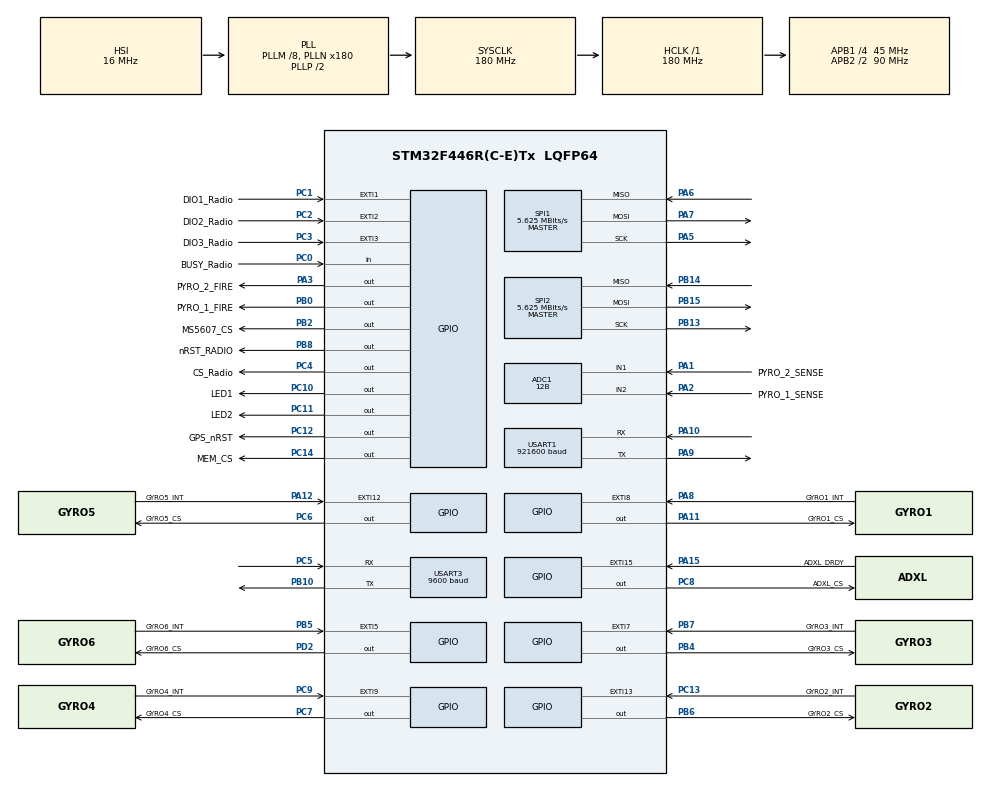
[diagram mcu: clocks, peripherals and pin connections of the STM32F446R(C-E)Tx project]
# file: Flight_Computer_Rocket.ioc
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ADC1.Channel-0\#ChannelRegularConversion=ADC_CHANNEL_2
ADC1.ClockPrescaler=ADC_CLOCK_SYNC_PCLK_DIV4
ADC1.ContinuousConvMode=DISABLE
ADC1.DMAContinuousRequests=DISABLE
ADC1.DataAlign=ADC_DATAALIGN_RIGHT
ADC1.DiscontinuousConvMode=DISABLE
ADC1.EOCSelection=ADC_EOC_SINGLE_CONV
ADC1.EnableAnalogWatchDog=false
ADC1.ExternalTrigConv=ADC_SOFTWARE_START
ADC1.ExternalTrigConvEdge=ADC_EXTERNALTRIGCONVEDGE_NONE
ADC1.InjNumberOfConversion=0
ADC1.NbrOfConversion=1
ADC1.NbrOfConversionFlag=1
ADC1.Rank-0\#ChannelRegularConversion=1
ADC1.Resolution=ADC_RESOLUTION_12B
ADC1.SamplingTime-0\#ChannelRegularConversion=ADC_SAMPLETIME_3CYCLES
ADC1.ScanConvMode=DISABLE
ADC1.master=1
Mcu.Family=STM32F4
Mcu.Name=STM32F446R(C-E)Tx
Mcu.Package=LQFP64
NVIC.EXTI15_10_IRQn=true\:1\:0\:true\:false\:true\:true
NVIC.EXTI1_IRQn=true\:1\:0\:true\:false\:true\:true
NVIC.EXTI2_IRQn=true\:1\:0\:true\:false\:true\:true
NVIC.EXTI3_IRQn=true\:1\:0\:true\:false\:true\:true
NVIC.EXTI9_5_IRQn=true\:1\:0\:true\:false\:true\:true
NVIC.PriorityGroup=NVIC_PRIORITYGROUP_4
NVIC.TIM1_UP_TIM10_IRQn=true\:1\:0\:true\:false\:true\:true
NVIC.TIM6_DAC_IRQn=true\:1\:0\:true\:false\:true\:true
NVIC.TIM7_IRQn=true\:1\:0\:true\:false\:true\:true
NVIC.USART1_IRQn=true\:0\:0\:false\:false\:true\:true
NVIC.USART3_IRQn=true\:0\:0\:false\:false\:true\:true
PA1.GPIO_Label=PYRO_2_SENSE
PA1.Signal=ADCx_IN1
PA10.Mode=Asynchronous
PA10.Signal=USART1_RX
PA11.GPIO_Label=GYRO1_CS
PA11.GPIO_Speed=GPIO_SPEED_FREQ_HIGH
PA11.Signal=GPIO_Output
PA12.GPIO_Label=GYRO5_INT
PA12.Signal=GPXTI12
PA13.Mode=Trace_Asynchronous_SW
PA13.Signal=SYS_JTMS-SWDIO
PA14.Mode=Trace_Asynchronous_SW
PA14.Signal=SYS_JTCK-SWCLK
PA15.GPIO_Label=ADXL_DRDY
PA15.Signal=GPXTI15
PA2.GPIO_Label=PYRO_1_SENSE
PA2.Signal=ADCx_IN2
PA3.GPIO_Label=PYRO_2_FIRE
PA3.Signal=GPIO_Output
PA5.Mode=Full_Duplex_Master
PA5.Signal=SPI1_SCK
PA6.Mode=Full_Duplex_Master
PA6.Signal=SPI1_MISO
PA7.Mode=Full_Duplex_Master
PA7.Signal=SPI1_MOSI
PA8.GPIO_Label=GYRO1_INT
PA8.Signal=GPXTI8
PA9.Mode=Asynchronous
PA9.Signal=USART1_TX
PB0.GPIO_Label=PYRO_1_FIRE
PB0.Signal=GPIO_Output
PB10.Mode=Asynchronous
PB10.Signal=USART3_TX
PB13.Mode=Full_Duplex_Master
PB13.Signal=SPI2_SCK
PB14.Mode=Full_Duplex_Master
PB14.Signal=SPI2_MISO
PB15.Mode=Full_Duplex_Master
PB15.Signal=SPI2_MOSI
PB2.GPIO_Label=MS5607_CS
PB2.GPIO_Speed=GPIO_SPEED_FREQ_HIGH
PB2.Signal=GPIO_Output
PB3.Mode=Trace_Asynchronous_SW
PB3.Signal=SYS_JTDO-SWO
PB4.GPIO_Label=GYRO3_CS
PB4.GPIO_Speed=GPIO_SPEED_FREQ_HIGH
PB4.Signal=GPIO_Output
PB5.GPIO_Label=GYRO6_INT
PB5.Signal=GPXTI5
PB6.GPIO_Label=GYRO2_CS
PB6.GPIO_Speed=GPIO_SPEED_FREQ_HIGH
PB6.Signal=GPIO_Output
PB7.GPIO_Label=GYRO3_INT
PB7.Signal=GPXTI7
PB8.GPIO_Label=nRST_RADIO
PB8.Signal=GPIO_Output
PC0.GPIO_Label=BUSY_Radio
PC0.Signal=GPIO_Input
PC1.GPIO_Label=DIO1_Radio
PC1.Signal=GPXTI1
PC10.GPIO_Label=LED1
PC10.Signal=GPIO_Output
PC11.GPIO_Label=LED2
PC11.Signal=GPIO_Output
PC12.GPIO_Label=GPS_nRST
PC12.Signal=GPIO_Output
PC13.GPIO_Label=GYRO2_INT
PC13.Signal=GPXTI13
PC14-OSC32_IN.GPIO_Label=MEM_CS
PC14-OSC32_IN.GPIO_Speed=GPIO_SPEED_FREQ_LOW
PC14-OSC32_IN.Signal=GPIO_Output
PC2.GPIO_Label=DIO2_Radio
PC2.Signal=GPXTI2
PC3.GPIO_Label=DIO3_Radio
PC3.Signal=GPXTI3
PC4.GPIO_Label=CS_Radio
PC4.Signal=GPIO_Output
PC5.Mode=Asynchronous
PC5.Signal=USART3_RX
PC6.GPIO_Label=GYRO5_CS
PC6.GPIO_Speed=GPIO_SPEED_FREQ_HIGH
PC6.Signal=GPIO_Output
PC7.GPIO_Label=GYRO4_CS
PC7.GPIO_Speed=GPIO_SPEED_FREQ_HIGH
PC7.Signal=GPIO_Output
PC8.GPIO_Label=ADXL_CS
PC8.GPIO_Speed=GPIO_SPEED_FREQ_HIGH
PC8.Signal=GPIO_Output
PC9.GPIO_Label=GYRO4_INT
PC9.Signal=GPXTI9
PD2.GPIO_Label=GYRO6_CS
PD2.GPIO_Speed=GPIO_SPEED_FREQ_HIGH
PD2.Signal=GPIO_Output
ProjectManager.HeapSize=0x200
ProjectManager.StackSize=0x400
ProjectManager.TargetToolchain=TrueSTUDIO
RCC.AHBFreq_Value=180000000
RCC.APB1CLKDivider=RCC_HCLK_DIV4
RCC.APB1Freq_Value=45000000
RCC.APB1TimFreq_Value=90000000
RCC.APB2CLKDivider=RCC_HCLK_DIV2
RCC.APB2Freq_Value=90000000
RCC.APB2TimFreq_Value=180000000
RCC.CortexFreq_Value=180000000
RCC.HCLKFreq_Value=180000000
RCC.PLLM=8
RCC.PLLN=180
RCC.SYSCLKFreq_VALUE=180000000
RCC.SYSCLKSource=RCC_SYSCLKSOURCE_PLLCLK
RCC.USBFreq_Value=180000000
RCC.VCOOutputFreq_Value=360000000
SH.ADCx_IN1.0=ADC1_IN1,IN1
SH.ADCx_IN2.0=ADC1_IN2,IN2
SPI1.BaudRatePrescaler=SPI_BAUDRATEPRESCALER_16
SPI1.CalculateBaudRate=5.625 MBits/s
SPI1.Direction=SPI_DIRECTION_2LINES
SPI1.Mode=SPI_MODE_MASTER
SPI1.VirtualType=VM_MASTER
SPI2.BaudRatePrescaler=SPI_BAUDRATEPRESCALER_8
SPI2.CalculateBaudRate=5.625 MBits/s
SPI2.Direction=SPI_DIRECTION_2LINES
SPI2.Mode=SPI_MODE_MASTER
SPI2.VirtualType=VM_MASTER
TIM10.Period=999
TIM10.Prescaler=1799
TIM6.Period=99
TIM6.Prescaler=17999
TIM7.Period=499
TIM7.Prescaler=1799
USART1.BaudRate=921600
USART1.VirtualMode=VM_ASYNC
USART3.BaudRate=9600
USART3.VirtualMode=VM_ASYNC
VP_TIM10_VS_ClockSourceINT.Mode=Enable_Timer
VP_TIM6_VS_ClockSourceINT.Mode=Enable_Timer
VP_TIM7_VS_ClockSourceINT.Mode=Enable_Timer
board=Flight_Computer_Rocket

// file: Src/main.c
/**
  ******************************************************************************
  * File Name          : main.c
  * Description        : Main program body
  ******************************************************************************
  ** This notice applies to any and all portions of this file
  * that are not between comment pairs USER CODE BEGIN and
  * USER CODE END. Other portions of this file, whether
  * inserted by the user or by software development tools
  * are owned by their respective copyright owners.
  *
  * COPYRIGHT(c) 2018 STMicroelectronics
  *
  * Redistribution and use in source and binary forms, with or without modification,
  * are permitted provided that the following conditions are met:
  *   1. Redistributions of source code must retain the above copyright notice,
  *      this list of conditions and the following disclaimer.
  *   2. Redistributions in binary form must reproduce the above copyright notice,
  *      this list of conditions and the following disclaimer in the documentation
  *      and/or other materials provided with the distribution.
  *   3. Neither the name of STMicroelectronics nor the names of its contributors
  *      may be used to endorse or promote products derived from this software
  *      without specific prior written permission.
  *
  * THIS SOFTWARE IS PROVIDED BY THE COPYRIGHT HOLDERS AND CONTRIBUTORS "AS IS"
  * AND ANY EXPRESS OR IMPLIED WARRANTIES, INCLUDING, BUT NOT LIMITED TO, THE
  * IMPLIED WARRANTIES OF MERCHANTABILITY AND FITNESS FOR A PARTICULAR PURPOSE ARE
  * DISCLAIMED. IN NO EVENT SHALL THE COPYRIGHT HOLDER OR CONTRIBUTORS BE LIABLE
  * FOR ANY DIRECT, INDIRECT, INCIDENTAL, SPECIAL, EXEMPLARY, OR CONSEQUENTIAL
  * DAMAGES (INCLUDING, BUT NOT LIMITED TO, PROCUREMENT OF SUBSTITUTE GOODS OR
  * SERVICES; LOSS OF USE, DATA, OR PROFITS; OR BUSINESS INTERRUPTION) HOWEVER
  * CAUSED AND ON ANY THEORY OF LIABILITY, WHETHER IN CONTRACT, STRICT LIABILITY,
  * OR TORT (INCLUDING NEGLIGENCE OR OTHERWISE) ARISING IN ANY WAY OUT OF THE USE
  * OF THIS SOFTWARE, EVEN IF ADVISED OF THE POSSIBILITY OF SUCH DAMAGE.
  *
  ******************************************************************************
  */

#include "main.h"
#include "stm32f4xx_hal.h"

/* USER CODE BEGIN Includes */

/*
                                                                   `-/+osyhdmmNNy`
                                                             `-/shmNmhyso+/oMMMy`
                                                         `-+hmNdy+:.`     /mMNo`
                                                     `.:smNds/.`        .yNMm:
                                             `.:+oosmmNmy+.`          .sNMNo`
                                        `-/syhs+:./hmy/`    `::     .odmms.
       ./oyyyo:`       ./oyyy+-      ./ymNyo+oo+/:+/.    ./o//+++//+oso+o++:       .:/++/:.
      :mNNNNNNNh-     /mNNNNNNmy. -odNMMN++dmmdhddd/ `:odNs/hydddmNmdddmmmmo      /ddmmmmdh/
      hNNNmsmNNNm-    hNNNmsmNNms.dNMMMM/-mNdyydmmdd-sNMMh-Ndmmmysossssssss/     -dmmmdhmmmd-
      hNNNh :NNNNh`   hNNNy /NNmm/-+oo++.dNNdd-:dmNNd-NMMo+mddd:                `ymmmd:-dmmmh`
      hNNNh  oNNNN/   hNNNy .omNNm.ddhy-+mNNNo.:sMNNNo+MN/-dmmmho+++++++/-`     +mmmmo  ommmmo
      hNNNh  `dNNNd`  hNNNy-d-dNNm/.-...dhNNh` y.mNNNN-o.  +dmmmmmmmmmmmmmh:   -dmmmh`  `hmmmd-
      hNNNh   :NNNN/  hNmmy:Ms/mdhh.:.`omdmh- .Ny:NNNdy     .+syyyyyyyydmmmd- `ymmmm:    -dmmmy`
      hNNNh    hNNNd` hmNNy:Nh.syss/``+ddmho-:mMM:odmmm/               :mmmmo /mmmmo      ommmm/
      hNNNh    -NNNNy:dmNNy:mms:yoos-.hmmdd-mMNd+.`dmmmd`  .////////::/smmmm/.dmmmh`      `hmmmd.
      hNNNh     +mNNNNNmNm+/yso.odmmyyNddN:sdo-    :mmmms  +mmmmmmmdymmmmmmo`smmmm:        -dmmms
      sddds      -ohdddhs+sdNNMy:dsyhhyydo`-        ohhhh. /hhhhhhysshhhyo- .yhhho          +yyyy.
                    ``` :NMMMMMMh:   .:`                      `.+s.
                         /mMMMMMMs                         `./hmy-
                          .omMMMMMs.`                  `./sdNNy:
                          .-./smNMMMmho+:-..``...-:/oshmMMNmo.
                           :yhysoyNMMMMMMMMMMMMMMMMMMMMNdo-
                             .+ymMMMMMMMMMMMMMMMMMMmyo:`
                                 .-+osyyhhhyyso+:.`
 */

#include "flash.h"
#include "sensors.h"
#include "commandline.h"
#include "GPS.h"
#include "SX1280.h"
#include "math.h"

/* USER CODE END Includes */

ADC_HandleTypeDef hadc1;

SPI_HandleTypeDef hspi1;
SPI_HandleTypeDef hspi2;

TIM_HandleTypeDef htim6;
TIM_HandleTypeDef htim7;
TIM_HandleTypeDef htim10;

UART_HandleTypeDef huart1;
UART_HandleTypeDef huart3;

/* USER CODE BEGIN PV */
/* Private variables ---------------------------------------------------------*/

//GLOBALS:
//UART Buffers
uint8_t uart1_in;
buffer uart1_buf;
uint8_t uart3_in;
buffer uart3_buf;
uint16_t packet_number = 0;

union flt{
  float f;
  uint8_t bytes[4];
};
union flt float_conv;

//Sensors Structs
baro b;
gyro gyros[6];
accel a;
extern gps_data gps;
uint32_t last_time = 0;
volatile uint8_t LOGGING_ACTIVE = 0;
uint8_t RX_PARITY = 0;
file* logfile;

//Global Flags
volatile uint8_t ADXL_Log, GYRO1_Log, GYRO2_Log, GYRO3_Log, GYRO4_Log, GYRO5_Log, GYRO6_Log, GPS_Log;
uint8_t radio_tim, baro_tim, ms_tim;
uint8_t baro_conv_state = 0;
uint8_t transmitting = 0;
uint8_t radio_RX = 0;
uint8_t radio_pkt_rdy = 0;
uint8_t baro_lockout = 0;
uint16_t callsign_counter = 0;
/* USER CODE END PV */

void SystemClock_Config(void);
static void MX_GPIO_Init(void);
static void MX_ADC1_Init(void);
static void MX_SPI1_Init(void);
static void MX_SPI2_Init(void);
static void MX_TIM10_Init(void);
static void MX_USART1_UART_Init(void);
static void MX_USART3_UART_Init(void);
static void MX_TIM6_Init(void);
static void MX_TIM7_Init(void);

/* USER CODE BEGIN PFP */
/* Private function prototypes -----------------------------------------------*/

/* USER CODE END PFP */

int main(void)
{

  /* USER CODE BEGIN 1 */

  // Initialize uart command buffer

  /* USER CODE END 1 */

  /* MCU Configuration----------------------------------------------------------*/

  /* Reset of all peripherals, Initializes the Flash interface and the Systick. */
  HAL_Init();

  /* Configure the system clock */
  SystemClock_Config();

  /* Initialize all configured peripherals */
  MX_GPIO_Init();
  MX_ADC1_Init();
  MX_SPI1_Init();
  MX_SPI2_Init();
  MX_TIM10_Init();
  MX_USART1_UART_Init();
  MX_USART3_UART_Init();
  MX_TIM6_Init();
  MX_TIM7_Init();

  /* USER CODE BEGIN 2 */
  //Local vars
  volatile uint8_t temp_packet[23] = {0};
  volatile uint8_t radio_status;
  uint8_t radio_tim_count = 0;
  uint8_t tx_clear = 1;
  uint8_t RXData[25] = {0};
  uint8_t TXData[25] = {0};
  uint8_t status_Byte = 0;
  uint16_t max_altitude = 0;

  //Init CS pins to default state
  HAL_GPIO_WritePin(GYRO1_CS_GPIO_Port, GYRO1_CS_Pin, 1);
  HAL_GPIO_WritePin(GYRO2_CS_GPIO_Port, GYRO2_CS_Pin, 1);
  HAL_GPIO_WritePin(GYRO3_CS_GPIO_Port, GYRO3_CS_Pin, 1);
  HAL_GPIO_WritePin(GYRO4_CS_GPIO_Port, GYRO4_CS_Pin, 1);
  HAL_GPIO_WritePin(GYRO5_CS_GPIO_Port, GYRO5_CS_Pin, 1);
  HAL_GPIO_WritePin(GYRO6_CS_GPIO_Port, GYRO6_CS_Pin, 1);
  HAL_GPIO_WritePin(MS5607_CS_GPIO_Port, MS5607_CS_Pin, 1);
  HAL_GPIO_WritePin(ADXL_CS_GPIO_Port, ADXL_CS_Pin, 1);
  HAL_GPIO_WritePin(GPS_nRST_GPIO_Port, GPS_nRST_Pin, 1);
  HAL_GPIO_WritePin(MEM_CS_GPIO_Port, MEM_CS_Pin, 1);
  HAL_GPIO_WritePin(CS_Radio_GPIO_Port, CS_Radio_Pin, 1);

  unlock_all(); // Flash init

  //Cmd Interface Init
  buffer_init(&uart1_buf, UART_BUFFER_SIZE, 1);
  HAL_UART_Receive_IT(&huart1, &uart1_in, 1);

  //GPS UART Init
  buffer_init(&uart3_buf, UART_BUFFER_SIZE, 3);
  HAL_UART_Receive_IT(&huart3, &uart3_in, 1);

  //Gyro Init
  init_gyros();
  for(int n = 1; n <= 6; n++){
      gyros[n-1].id = n;
  }

  //Accel Init
  init_accel();

  //Baro Init
  init_baro(&b);
  D2_conv_baro(&b);
  HAL_Delay(20);

  //Radio Init
  init_radio();

  print("System Initilization Complete\n\0");

  //Start Timers
  HAL_TIM_Base_Init(&htim6);
  HAL_TIM_Base_Start_IT(&htim6);
  HAL_TIM_Base_Init(&htim7);
  HAL_TIM_Base_Start_IT(&htim7);
  HAL_TIM_Base_Init(&htim10);
  HAL_TIM_Base_Start_IT(&htim10);

  /* USER CODE END 2 */

  /* Infinite loop */
  while (1)
  {

  /* USER CODE BEGIN 3 */

	  parse_buffer(&uart1_buf);

	  if(HAL_GetTick() != last_time){
		  if(LOGGING_ACTIVE == 1){
			  last_time = HAL_GetTick();
			  log_time(logfile, last_time);
		  }
	  }
    //Check if a drdy interrupt has occured and fetch data
    if(ADXL_Log == 1){
        read_accel(&a);
        if(LOGGING_ACTIVE == 1){
        	 log_accel(logfile, &a);
        }
        ADXL_Log = 0;
    }
    if(GYRO1_Log == 1){
      read_gyro(&gyros[0]);
      if(LOGGING_ACTIVE == 1){
    	  log_gyro(logfile, &gyros[0]);
	  }
      GYRO1_Log = 0;
    }
    if(GYRO2_Log == 1){
      read_gyro(&gyros[1]);
      if(LOGGING_ACTIVE == 1){
		  log_gyro(logfile, &gyros[1]);
	  }
      GYRO2_Log = 0;
    }
    if(GYRO3_Log == 1){
      read_gyro(&gyros[2]);
      if(LOGGING_ACTIVE == 1){
		  log_gyro(logfile, &gyros[2]);
	  }
      GYRO3_Log = 0;
    }
    if(GYRO4_Log == 1){
      read_gyro(&gyros[3]);
      if(LOGGING_ACTIVE == 1){
		  log_gyro(logfile, &gyros[3]);
	  }
      GYRO4_Log = 0;
    }
    if(GYRO5_Log == 1){
      read_gyro(&gyros[4]);
      if(LOGGING_ACTIVE == 1){
		  log_gyro(logfile, &gyros[4]);
	  }
      GYRO5_Log = 0;
    }
    if(GYRO6_Log == 1){
      read_gyro(&gyros[5]);
      if(LOGGING_ACTIVE == 1){
		  log_gyro(logfile, &gyros[5]);
	  }
      GYRO6_Log = 0;
    }
    if(GPS_Log == 1){
    	if(LOGGING_ACTIVE == 1){
    		log_gps(logfile, &gps);
    	}
        GPS_Log = 0;
    }

    //Check timer interrupts
    if(radio_tim == 1){

        //If we are on a multiple of 10, transmitt a packet
        if(radio_tim_count == 0 || radio_tim_count == 20 || radio_tim_count == 40 || radio_tim_count == 60 || radio_tim_count == 80){

        		// Build status byte
        		status_Byte = 0;	// Reset
        		status_Byte |= LOGGING_ACTIVE << 7;
        		status_Byte |= RX_PARITY << 6;

        		//

        		if (callsign_counter > 1500){
        			callsign_counter = 0;
        			status_Byte = 0xFF;
        			temp_packet[2] = status_Byte; //0x0 wil be normal packet
					temp_packet[3] = 'K';
					temp_packet[4] = 'D';
					temp_packet[5] = '9';
					temp_packet[6] = 'E';
					temp_packet[7] = 'B';
					temp_packet[8] = 'L';
					temp_packet[9] = 0;
					temp_packet[10] = 0;
					temp_packet[11] = 0;
					temp_packet[12] = 0;

					temp_packet[13] = (b.altitude) & 0xFF;
					temp_packet[14] = (b.altitude >> 8) & 0xFF;
					temp_packet[15] = (max_altitude) & 0xFF;
					temp_packet[16] = (max_altitude >> 8) & 0xFF;
					temp_packet[17] = (gyros[2].data[2]) & 0xFF;
					temp_packet[18] = (gyros[2].data[2] >> 8) & 0xFF;
					int32_t accel_composite = sqrt((double)a.data[0]*a.data[0]+(double)a.data[1]*a.data[1]+(double)a.data[2]*a.data[2]);
					temp_packet[21] = (accel_composite) & 0xFF;
					temp_packet[22] = (accel_composite >> 8) & 0xFF;
					temp_packet[23] = (accel_composite >> 16) & 0xFF;
        		}
        		else{
        			temp_packet[2] = status_Byte; //0x0 wil be normal packet
        			temp_packet[3] = (packet_number & 0xFF);
					temp_packet[4] = (packet_number >> 8) & 0xFF;

					float_conv.f = gps.latitude;
					temp_packet[5] = float_conv.bytes[0];
					temp_packet[6] = float_conv.bytes[1];
					temp_packet[7] = float_conv.bytes[2];
					temp_packet[8] = float_conv.bytes[3];

					float_conv.f = gps.longitude;
					temp_packet[9] = float_conv.bytes[0];
					temp_packet[10] = float_conv.bytes[1];
					temp_packet[11] = float_conv.bytes[2];
					temp_packet[12] = float_conv.bytes[3];

					temp_packet[13] = (b.altitude) & 0xFF;
					temp_packet[14] = (b.altitude >> 8) & 0xFF;

					//Add command to reset max altitude?
					//Probably need to average this or something?
					if(b.altitude > max_altitude){
					  if(baro_lockout != 0){
						  max_altitude = b.altitude;
					  }
					  else{
						  baro_lockout = 1;
					  }
					}
					temp_packet[15] = (max_altitude) & 0xFF;
					temp_packet[16] = (max_altitude >> 8) & 0xFF;

					//Just send gyro 2 data for now. Can send avg of all channels if wanted
					//Need to change axis to the correct one...
					temp_packet[17] = (gyros[2].data[2]) & 0xFF;
					temp_packet[18] = (gyros[2].data[2] >> 8) & 0xFF;

					//Need to write function to actually calculate vel from accel
					//        temp_packet[19] = (gyros[1].data[1] >> 8) & 0xFF;
					//        temp_packet[20] = (gyros[1].data[1]) & 0xFF;

					//Need to change axis to the correct one...
					int32_t accel_composite = sqrt((double)a.data[0]*a.data[0]+(double)a.data[1]*a.data[1]+(double)a.data[2]*a.data[2]);
					temp_packet[21] = (accel_composite) & 0xFF;
					temp_packet[22] = (accel_composite >> 8) & 0xFF;
					temp_packet[23] = (accel_composite >> 16) & 0xFF;
        		}

			  //Do steps for transmit
			  radio_txPacket(temp_packet);
			  packet_number += 1;

        }

        radio_tim = 0;
        radio_tim_count += 1;
        if(radio_tim_count >= 100){
            radio_tim_count = 0;
        }
    }

    if(baro_tim == 1){
        //Send conversion and/or read adc
        if(baro_conv_state == 0){
            read_D2_baro(&b);
            D1_conv_baro(&b);
            baro_conv_state = 1;
        }
        else{
            read_D1_baro(&b);
            D2_conv_baro(&b);
            conv_pres_baro(&b);
            conv_alt(&b);
            if(LOGGING_ACTIVE == 1){
            	log_baro(logfile, &b);
            }
            baro_conv_state = 0;
        }
        baro_tim = 0;
    }

    //Handle other flags from things
    if(radio_RX == 1){
    	//Once a packet is transmitted, put radio into rx mode
    	radio_clearInterrupt();
    	radio_RXMode();
    	radio_RX = 0;
    }

    if(radio_pkt_rdy == 1){

		radio_pkt_rdy = 0;
		uint8_t RX_Buff[30] = {0};

		//Receive packet if one comes in
		radio_getPktStatus();

		//Get RX Buffer Status
		radio_getRXBufferStatus();

		//Read buffer
		radio_rxPacket(RX_Buff);

		if(RX_Buff[3] + RX_Buff[4] == 0xFF){

			RX_PARITY = (RX_PARITY == 0) ? 1 : 0;
			//Where to define commands??
			//They are in radio.h at the moment
			if(RX_Buff[3] == START_LOG){
			//Start the logging
			  if(LOGGING_ACTIVE == 0){
				  logfile = new_log();
			  }
			//Set MSB of status byte to indicate logging is on

			}
			else if(RX_Buff[3] == STOP_LOG){
			//Stop the logging
			if(LOGGING_ACTIVE == 1){
				close_log(logfile);
			}
			//Reset MSB of status byte to indicate logging is off

			}
			else if(RX_Buff[3] == CLEAR_FILE_SYS){
			//Clear the file system
			init_fs();
			}
		}

		//Clear IRQs
		radio_clearInterrupt();
	}
  }
  /* USER CODE END 3 */

}

/** System Clock Configuration
*/
void SystemClock_Config(void)
{

  RCC_OscInitTypeDef RCC_OscInitStruct;
  RCC_ClkInitTypeDef RCC_ClkInitStruct;

    /**Configure the main internal regulator output voltage
    */
  __HAL_RCC_PWR_CLK_ENABLE();

  __HAL_PWR_VOLTAGESCALING_CONFIG(PWR_REGULATOR_VOLTAGE_SCALE1);

    /**Initializes the CPU, AHB and APB busses clocks
    */
  RCC_OscInitStruct.OscillatorType = RCC_OSCILLATORTYPE_HSI;
  RCC_OscInitStruct.HSIState = RCC_HSI_ON;
  RCC_OscInitStruct.HSICalibrationValue = 16;
  RCC_OscInitStruct.PLL.PLLState = RCC_PLL_ON;
  RCC_OscInitStruct.PLL.PLLSource = RCC_PLLSOURCE_HSI;
  RCC_OscInitStruct.PLL.PLLM = 8;
  RCC_OscInitStruct.PLL.PLLN = 180;
  RCC_OscInitStruct.PLL.PLLP = RCC_PLLP_DIV2;
  RCC_OscInitStruct.PLL.PLLQ = 2;
  RCC_OscInitStruct.PLL.PLLR = 2;
  if (HAL_RCC_OscConfig(&RCC_OscInitStruct) != HAL_OK)
  {
    _Error_Handler(__FILE__, __LINE__);
  }

    /**Activate the Over-Drive mode
    */
  if (HAL_PWREx_EnableOverDrive() != HAL_OK)
  {
    _Error_Handler(__FILE__, __LINE__);
  }

    /**Initializes the CPU, AHB and APB busses clocks
    */
  RCC_ClkInitStruct.ClockType = RCC_CLOCKTYPE_HCLK|RCC_CLOCKTYPE_SYSCLK
                              |RCC_CLOCKTYPE_PCLK1|RCC_CLOCKTYPE_PCLK2;
  RCC_ClkInitStruct.SYSCLKSource = RCC_SYSCLKSOURCE_PLLCLK;
  RCC_ClkInitStruct.AHBCLKDivider = RCC_SYSCLK_DIV1;
  RCC_ClkInitStruct.APB1CLKDivider = RCC_HCLK_DIV4;
  RCC_ClkInitStruct.APB2CLKDivider = RCC_HCLK_DIV2;

  if (HAL_RCC_ClockConfig(&RCC_ClkInitStruct, FLASH_LATENCY_5) != HAL_OK)
  {
    _Error_Handler(__FILE__, __LINE__);
  }

    /**Configure the Systick interrupt time
    */
  HAL_SYSTICK_Config(HAL_RCC_GetHCLKFreq()/1000);

    /**Configure the Systick
    */
  HAL_SYSTICK_CLKSourceConfig(SYSTICK_CLKSOURCE_HCLK);

  /* SysTick_IRQn interrupt configuration */
  HAL_NVIC_SetPriority(SysTick_IRQn, 0, 0);
}

/* ADC1 init function */
static void MX_ADC1_Init(void)
{

  ADC_ChannelConfTypeDef sConfig;

    /**Configure the global features of the ADC (Clock, Resolution, Data Alignment and number of conversion)
    */
  hadc1.Instance = ADC1;
  hadc1.Init.ClockPrescaler = ADC_CLOCK_SYNC_PCLK_DIV4;
  hadc1.Init.Resolution = ADC_RESOLUTION_12B;
  hadc1.Init.ScanConvMode = DISABLE;
  hadc1.Init.ContinuousConvMode = DISABLE;
  hadc1.Init.DiscontinuousConvMode = DISABLE;
  hadc1.Init.ExternalTrigConvEdge = ADC_EXTERNALTRIGCONVEDGE_NONE;
  hadc1.Init.ExternalTrigConv = ADC_SOFTWARE_START;
  hadc1.Init.DataAlign = ADC_DATAALIGN_RIGHT;
  hadc1.Init.NbrOfConversion = 1;
  hadc1.Init.DMAContinuousRequests = DISABLE;
  hadc1.Init.EOCSelection = ADC_EOC_SINGLE_CONV;
  if (HAL_ADC_Init(&hadc1) != HAL_OK)
  {
    _Error_Handler(__FILE__, __LINE__);
  }

    /**Configure for the selected ADC regular channel its corresponding rank in the sequencer and its sample time.
    */
  sConfig.Channel = ADC_CHANNEL_2;
  sConfig.Rank = 1;
  sConfig.SamplingTime = ADC_SAMPLETIME_3CYCLES;
  if (HAL_ADC_ConfigChannel(&hadc1, &sConfig) != HAL_OK)
  {
    _Error_Handler(__FILE__, __LINE__);
  }

}

/* SPI1 init function */
static void MX_SPI1_Init(void)
{

  /* SPI1 parameter configuration*/
  hspi1.Instance = SPI1;
  hspi1.Init.Mode = SPI_MODE_MASTER;
  hspi1.Init.Direction = SPI_DIRECTION_2LINES;
  hspi1.Init.DataSize = SPI_DATASIZE_8BIT;
  hspi1.Init.CLKPolarity = SPI_POLARITY_LOW;
  hspi1.Init.CLKPhase = SPI_PHASE_1EDGE;
  hspi1.Init.NSS = SPI_NSS_SOFT;
  hspi1.Init.BaudRatePrescaler = SPI_BAUDRATEPRESCALER_16;
  hspi1.Init.FirstBit = SPI_FIRSTBIT_MSB;
  hspi1.Init.TIMode = SPI_TIMODE_DISABLE;
  hspi1.Init.CRCCalculation = SPI_CRCCALCULATION_DISABLE;
  hspi1.Init.CRCPolynomial = 10;
  if (HAL_SPI_Init(&hspi1) != HAL_OK)
  {
    _Error_Handler(__FILE__, __LINE__);
  }

}

/* SPI2 init function */
static void MX_SPI2_Init(void)
{

  /* SPI2 parameter configuration*/
  hspi2.Instance = SPI2;
  hspi2.Init.Mode = SPI_MODE_MASTER;
  hspi2.Init.Direction = SPI_DIRECTION_2LINES;
  hspi2.Init.DataSize = SPI_DATASIZE_8BIT;
  hspi2.Init.CLKPolarity = SPI_POLARITY_LOW;
  hspi2.Init.CLKPhase = SPI_PHASE_1EDGE;
  hspi2.Init.NSS = SPI_NSS_SOFT;
  hspi2.Init.BaudRatePrescaler = SPI_BAUDRATEPRESCALER_8;
  hspi2.Init.FirstBit = SPI_FIRSTBIT_MSB;
  hspi2.Init.TIMode = SPI_TIMODE_DISABLE;
  hspi2.Init.CRCCalculation = SPI_CRCCALCULATION_DISABLE;
  hspi2.Init.CRCPolynomial = 10;
  if (HAL_SPI_Init(&hspi2) != HAL_OK)
  {
    _Error_Handler(__FILE__, __LINE__);
  }

}

/* TIM6 init function */
static void MX_TIM6_Init(void)
{

  TIM_MasterConfigTypeDef sMasterConfig;

  htim6.Instance = TIM6;
  htim6.Init.Prescaler = 17999;
  htim6.Init.CounterMode = TIM_COUNTERMODE_UP;
  htim6.Init.Period = 99;
  if (HAL_TIM_Base_Init(&htim6) != HAL_OK)
  {
    _Error_Handler(__FILE__, __LINE__);
  }

  sMasterConfig.MasterOutputTrigger = TIM_TRGO_RESET;
  sMasterConfig.MasterSlaveMode = TIM_MASTERSLAVEMODE_DISABLE;
  if (HAL_TIMEx_MasterConfigSynchronization(&htim6, &sMasterConfig) != HAL_OK)
  {
    _Error_Handler(__FILE__, __LINE__);
  }

}

/* TIM7 init function */
static void MX_TIM7_Init(void)
{

  TIM_MasterConfigTypeDef sMasterConfig;

  htim7.Instance = TIM7;
  htim7.Init.Prescaler = 1799;
  htim7.Init.CounterMode = TIM_COUNTERMODE_UP;
  htim7.Init.Period = 499;
  if (HAL_TIM_Base_Init(&htim7) != HAL_OK)
  {
    _Error_Handler(__FILE__, __LINE__);
  }

  sMasterConfig.MasterOutputTrigger = TIM_TRGO_RESET;
  sMasterConfig.MasterSlaveMode = TIM_MASTERSLAVEMODE_DISABLE;
  if (HAL_TIMEx_MasterConfigSynchronization(&htim7, &sMasterConfig) != HAL_OK)
  {
    _Error_Handler(__FILE__, __LINE__);
  }

}

/* TIM10 init function */
static void MX_TIM10_Init(void)
{

  htim10.Instance = TIM10;
  htim10.Init.Prescaler = 1799;
  htim10.Init.CounterMode = TIM_COUNTERMODE_UP;
  htim10.Init.Period = 999;
  htim10.Init.ClockDivision = TIM_CLOCKDIVISION_DIV1;
  if (HAL_TIM_Base_Init(&htim10) != HAL_OK)
  {
    _Error_Handler(__FILE__, __LINE__);
  }

}

/* USART1 init function */
static void MX_USART1_UART_Init(void)
{

  huart1.Instance = USART1;
  huart1.Init.BaudRate = 921600;
  huart1.Init.WordLength = UART_WORDLENGTH_8B;
  huart1.Init.StopBits = UART_STOPBITS_1;
  huart1.Init.Parity = UART_PARITY_NONE;
  huart1.Init.Mode = UART_MODE_TX_RX;
  huart1.Init.HwFlowCtl = UART_HWCONTROL_NONE;
  huart1.Init.OverSampling = UART_OVERSAMPLING_16;
  if (HAL_UART_Init(&huart1) != HAL_OK)
  {
    _Error_Handler(__FILE__, __LINE__);
  }

}

/* USART3 init function */
static void MX_USART3_UART_Init(void)
{

  huart3.Instance = USART3;
  huart3.Init.BaudRate = 9600;
  huart3.Init.WordLength = UART_WORDLENGTH_8B;
  huart3.Init.StopBits = UART_STOPBITS_1;
  huart3.Init.Parity = UART_PARITY_NONE;
  huart3.Init.Mode = UART_MODE_TX_RX;
  huart3.Init.HwFlowCtl = UART_HWCONTROL_NONE;
  huart3.Init.OverSampling = UART_OVERSAMPLING_16;
  if (HAL_UART_Init(&huart3) != HAL_OK)
  {
    _Error_Handler(__FILE__, __LINE__);
  }

}

/** Configure pins as
        * Analog
        * Input
        * Output
        * EVENT_OUT
        * EXTI
*/
static void MX_GPIO_Init(void)
{

  GPIO_InitTypeDef GPIO_InitStruct;

  /* GPIO Ports Clock Enable */
  __HAL_RCC_GPIOC_CLK_ENABLE();
  __HAL_RCC_GPIOA_CLK_ENABLE();
  __HAL_RCC_GPIOB_CLK_ENABLE();
  __HAL_RCC_GPIOD_CLK_ENABLE();

  /*Configure GPIO pin Output Level */
  HAL_GPIO_WritePin(GPIOC, MEM_CS_Pin|CS_Radio_Pin|GYRO5_CS_Pin|GYRO4_CS_Pin
                          |ADXL_CS_Pin|LED1_Pin|LED2_Pin|GPS_nRST_Pin, GPIO_PIN_RESET);

  /*Configure GPIO pin Output Level */
  HAL_GPIO_WritePin(GPIOA, PYRO_2_FIRE_Pin|GYRO1_CS_Pin, GPIO_PIN_RESET);

  /*Configure GPIO pin Output Level */
  HAL_GPIO_WritePin(GPIOB, PYRO_1_FIRE_Pin|MS5607_CS_Pin|GYRO3_CS_Pin|GYRO2_CS_Pin
                          |nRST_RADIO_Pin, GPIO_PIN_RESET);

  /*Configure GPIO pin Output Level */
  HAL_GPIO_WritePin(GYRO6_CS_GPIO_Port, GYRO6_CS_Pin, GPIO_PIN_RESET);

  /*Configure GPIO pins : GYRO2_INT_Pin DIO1_Radio_Pin DIO2_Radio_Pin DIO3_Radio_Pin
                           GYRO4_INT_Pin */
  GPIO_InitStruct.Pin = GYRO2_INT_Pin|DIO1_Radio_Pin|DIO2_Radio_Pin|DIO3_Radio_Pin
                          |GYRO4_INT_Pin;
  GPIO_InitStruct.Mode = GPIO_MODE_IT_RISING;
  GPIO_InitStruct.Pull = GPIO_NOPULL;
  HAL_GPIO_Init(GPIOC, &GPIO_InitStruct);

  /*Configure GPIO pins : MEM_CS_Pin CS_Radio_Pin LED1_Pin LED2_Pin
                           GPS_nRST_Pin */
  GPIO_InitStruct.Pin = MEM_CS_Pin|CS_Radio_Pin|LED1_Pin|LED2_Pin
                          |GPS_nRST_Pin;
  GPIO_InitStruct.Mode = GPIO_MODE_OUTPUT_PP;
  GPIO_InitStruct.Pull = GPIO_NOPULL;
  GPIO_InitStruct.Speed = GPIO_SPEED_FREQ_LOW;
  HAL_GPIO_Init(GPIOC, &GPIO_InitStruct);

  /*Configure GPIO pin : BUSY_Radio_Pin */
  GPIO_InitStruct.Pin = BUSY_Radio_Pin;
  GPIO_InitStruct.Mode = GPIO_MODE_INPUT;
  GPIO_InitStruct.Pull = GPIO_NOPULL;
  HAL_GPIO_Init(BUSY_Radio_GPIO_Port, &GPIO_InitStruct);

  /*Configure GPIO pin : PYRO_2_FIRE_Pin */
  GPIO_InitStruct.Pin = PYRO_2_FIRE_Pin;
  GPIO_InitStruct.Mode = GPIO_MODE_OUTPUT_PP;
  GPIO_InitStruct.Pull = GPIO_NOPULL;
  GPIO_InitStruct.Speed = GPIO_SPEED_FREQ_LOW;
  HAL_GPIO_Init(PYRO_2_FIRE_GPIO_Port, &GPIO_InitStruct);

  /*Configure GPIO pins : PYRO_1_FIRE_Pin nRST_RADIO_Pin */
  GPIO_InitStruct.Pin = PYRO_1_FIRE_Pin|nRST_RADIO_Pin;
  GPIO_InitStruct.Mode = GPIO_MODE_OUTPUT_PP;
  GPIO_InitStruct.Pull = GPIO_NOPULL;
  GPIO_InitStruct.Speed = GPIO_SPEED_FREQ_LOW;
  HAL_GPIO_Init(GPIOB, &GPIO_InitStruct);

  /*Configure GPIO pins : MS5607_CS_Pin GYRO3_CS_Pin GYRO2_CS_Pin */
  GPIO_InitStruct.Pin = MS5607_CS_Pin|GYRO3_CS_Pin|GYRO2_CS_Pin;
  GPIO_InitStruct.Mode = GPIO_MODE_OUTPUT_PP;
  GPIO_InitStruct.Pull = GPIO_NOPULL;
  GPIO_InitStruct.Speed = GPIO_SPEED_FREQ_HIGH;
  HAL_GPIO_Init(GPIOB, &GPIO_InitStruct);

  /*Configure GPIO pins : GYRO5_CS_Pin GYRO4_CS_Pin ADXL_CS_Pin */
  GPIO_InitStruct.Pin = GYRO5_CS_Pin|GYRO4_CS_Pin|ADXL_CS_Pin;
  GPIO_InitStruct.Mode = GPIO_MODE_OUTPUT_PP;
  GPIO_InitStruct.Pull = GPIO_NOPULL;
  GPIO_InitStruct.Speed = GPIO_SPEED_FREQ_HIGH;
  HAL_GPIO_Init(GPIOC, &GPIO_InitStruct);

  /*Configure GPIO pins : GYRO1_INT_Pin GYRO5_INT_Pin ADXL_DRDY_Pin */
  GPIO_InitStruct.Pin = GYRO1_INT_Pin|GYRO5_INT_Pin|ADXL_DRDY_Pin;
  GPIO_InitStruct.Mode = GPIO_MODE_IT_RISING;
  GPIO_InitStruct.Pull = GPIO_NOPULL;
  HAL_GPIO_Init(GPIOA, &GPIO_InitStruct);

  /*Configure GPIO pin : GYRO1_CS_Pin */
  GPIO_InitStruct.Pin = GYRO1_CS_Pin;
  GPIO_InitStruct.Mode = GPIO_MODE_OUTPUT_PP;
  GPIO_InitStruct.Pull = GPIO_NOPULL;
  GPIO_InitStruct.Speed = GPIO_SPEED_FREQ_HIGH;
  HAL_GPIO_Init(GYRO1_CS_GPIO_Port, &GPIO_InitStruct);

  /*Configure GPIO pin : GYRO6_CS_Pin */
  GPIO_InitStruct.Pin = GYRO6_CS_Pin;
  GPIO_InitStruct.Mode = GPIO_MODE_OUTPUT_PP;
  GPIO_InitStruct.Pull = GPIO_NOPULL;
  GPIO_InitStruct.Speed = GPIO_SPEED_FREQ_HIGH;
  HAL_GPIO_Init(GYRO6_CS_GPIO_Port, &GPIO_InitStruct);

  /*Configure GPIO pins : GYRO6_INT_Pin GYRO3_INT_Pin */
  GPIO_InitStruct.Pin = GYRO6_INT_Pin|GYRO3_INT_Pin;
  GPIO_InitStruct.Mode = GPIO_MODE_IT_RISING;
  GPIO_InitStruct.Pull = GPIO_NOPULL;
  HAL_GPIO_Init(GPIOB, &GPIO_InitStruct);

  /* EXTI interrupt init*/
  HAL_NVIC_SetPriority(EXTI1_IRQn, 1, 0);
  HAL_NVIC_EnableIRQ(EXTI1_IRQn);

  HAL_NVIC_SetPriority(EXTI2_IRQn, 1, 0);
  HAL_NVIC_EnableIRQ(EXTI2_IRQn);

  HAL_NVIC_SetPriority(EXTI3_IRQn, 1, 0);
  HAL_NVIC_EnableIRQ(EXTI3_IRQn);

  HAL_NVIC_SetPriority(EXTI9_5_IRQn, 1, 0);
  HAL_NVIC_EnableIRQ(EXTI9_5_IRQn);

  HAL_NVIC_SetPriority(EXTI15_10_IRQn, 1, 0);
  HAL_NVIC_EnableIRQ(EXTI15_10_IRQn);

}

void _Error_Handler(char * file, int line)
{
  while(1)
  {
  }
}

/************************ (C) COPYRIGHT STMicroelectronics *****END OF FILE****/
